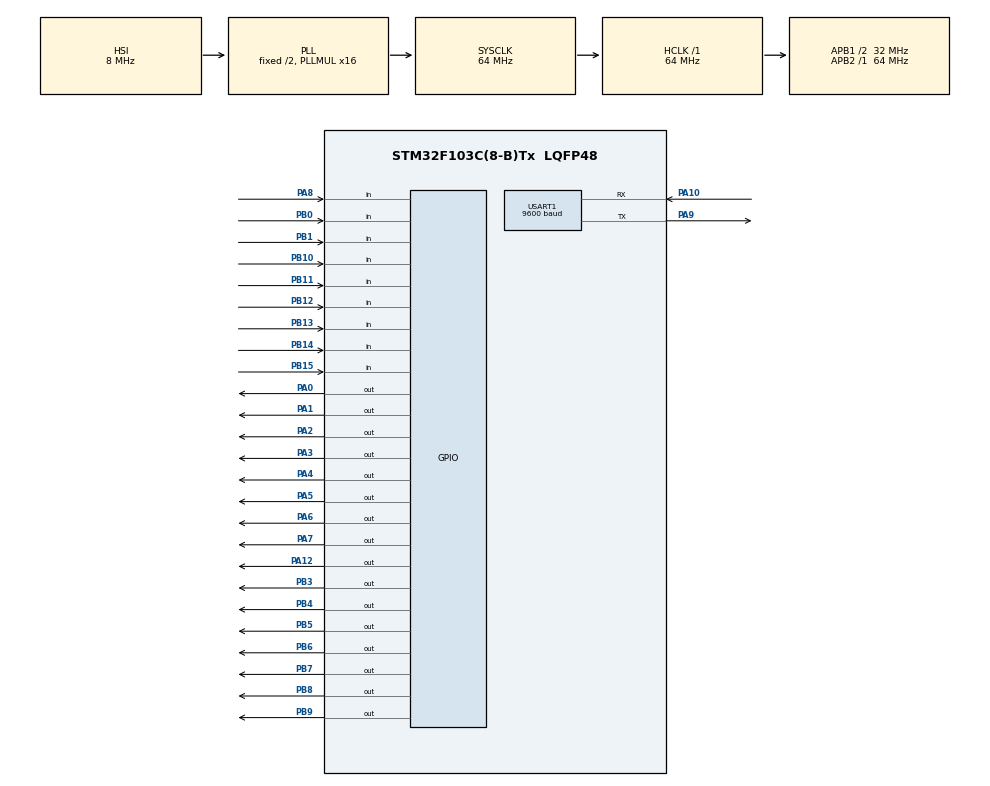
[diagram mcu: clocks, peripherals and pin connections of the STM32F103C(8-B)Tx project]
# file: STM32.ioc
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Mcu.Family=STM32F1
Mcu.Name=STM32F103C(8-B)Tx
Mcu.Package=LQFP48
NVIC.PriorityGroup=NVIC_PRIORITYGROUP_4
NVIC.TIM1_UP_IRQn=true\:0\:0\:false\:false\:true\:true\:true\:true
NVIC.TIM4_IRQn=true\:0\:0\:false\:false\:true\:true\:true\:true
NVIC.USART1_IRQn=true\:0\:0\:false\:false\:true\:true\:true\:true
PA0-WKUP.GPIO_PuPd=GPIO_PULLUP
PA0-WKUP.PinState=GPIO_PIN_SET
PA0-WKUP.Signal=GPIO_Output
PA1.GPIO_PuPd=GPIO_PULLUP
PA1.PinState=GPIO_PIN_SET
PA1.Signal=GPIO_Output
PA10.GPIO_PuPd=GPIO_PULLUP
PA10.Mode=Asynchronous
PA10.Signal=USART1_RX
PA12.GPIO_PuPd=GPIO_PULLUP
PA12.PinState=GPIO_PIN_SET
PA12.Signal=GPIO_Output
PA13.Mode=Serial_Wire
PA13.Signal=SYS_JTMS-SWDIO
PA14.Mode=Serial_Wire
PA14.Signal=SYS_JTCK-SWCLK
PA2.GPIO_PuPd=GPIO_PULLUP
PA2.PinState=GPIO_PIN_SET
PA2.Signal=GPIO_Output
PA3.GPIO_PuPd=GPIO_PULLUP
PA3.PinState=GPIO_PIN_SET
PA3.Signal=GPIO_Output
PA4.GPIO_PuPd=GPIO_PULLUP
PA4.PinState=GPIO_PIN_SET
PA4.Signal=GPIO_Output
PA5.GPIO_PuPd=GPIO_PULLUP
PA5.PinState=GPIO_PIN_SET
PA5.Signal=GPIO_Output
PA6.GPIO_PuPd=GPIO_PULLUP
PA6.PinState=GPIO_PIN_SET
PA6.Signal=GPIO_Output
PA7.GPIO_PuPd=GPIO_PULLUP
PA7.PinState=GPIO_PIN_SET
PA7.Signal=GPIO_Output
PA8.GPIO_PuPd=GPIO_PULLUP
PA8.Signal=GPIO_Input
PA9.Mode=Asynchronous
PA9.Signal=USART1_TX
PB0.GPIO_PuPd=GPIO_PULLUP
PB0.Signal=GPIO_Input
PB1.GPIO_PuPd=GPIO_PULLUP
PB1.Signal=GPIO_Input
PB10.GPIO_PuPd=GPIO_PULLUP
PB10.Signal=GPIO_Input
PB11.GPIO_PuPd=GPIO_PULLUP
PB11.Signal=GPIO_Input
PB12.GPIO_PuPd=GPIO_PULLUP
PB12.Signal=GPIO_Input
PB13.GPIO_PuPd=GPIO_PULLUP
PB13.Signal=GPIO_Input
PB14.GPIO_PuPd=GPIO_PULLUP
PB14.Signal=GPIO_Input
PB15.GPIO_PuPd=GPIO_PULLUP
PB15.Signal=GPIO_Input
PB3.GPIO_PuPd=GPIO_PULLUP
PB3.Signal=GPIO_Output
PB4.GPIO_PuPd=GPIO_PULLUP
PB4.Signal=GPIO_Output
PB5.GPIO_PuPd=GPIO_PULLUP
PB5.Signal=GPIO_Output
PB6.GPIO_PuPd=GPIO_PULLUP
PB6.Signal=GPIO_Output
PB7.GPIO_PuPd=GPIO_PULLUP
PB7.Signal=GPIO_Output
PB8.GPIO_PuPd=GPIO_PULLUP
PB8.Signal=GPIO_Output
PB9.GPIO_PuPd=GPIO_PULLUP
PB9.Signal=GPIO_Output
ProjectManager.HeapSize=0x200
ProjectManager.StackSize=0x400
ProjectManager.TargetToolchain=MDK-ARM V5
RCC.AHBFreq_Value=64000000
RCC.APB1CLKDivider=RCC_HCLK_DIV2
RCC.APB1Freq_Value=32000000
RCC.APB1TimFreq_Value=64000000
RCC.APB2Freq_Value=64000000
RCC.APB2TimFreq_Value=64000000
RCC.HCLKFreq_Value=64000000
RCC.PLLMUL=RCC_PLL_MUL16
RCC.SYSCLKFreq_VALUE=64000000
RCC.SYSCLKSource=RCC_SYSCLKSOURCE_PLLCLK
RCC.USBFreq_Value=64000000
TIM1.Period=50000
TIM1.Prescaler=63
TIM4.Period=1
TIM4.Prescaler=63
USART1.BaudRate=9600
USART1.VirtualMode=VM_ASYNC
VP_TIM1_VS_ClockSourceINT.Mode=Internal
VP_TIM4_VS_ClockSourceINT.Mode=Internal
board=custom

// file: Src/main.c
/* USER CODE BEGIN Header */
/**
  ******************************************************************************
  * @file           : main.c
  * @brief          : Main program body
  ******************************************************************************
  * @attention
  *
  * <h2><center>&copy; Copyright (c) 2019 STMicroelectronics.
  * All rights reserved.</center></h2>
  *
  * This software component is licensed by ST under BSD 3-Clause license,
  * the "License"; You may not use this file except in compliance with the
  * License. You may obtain a copy of the License at:
  *                        opensource.org/licenses/BSD-3-Clause
  *
  ******************************************************************************
  */
/* USER CODE END Header */
#include "main.h"
#include "tim.h"
#include "usart.h"
#include "gpio.h"

/* USER CODE BEGIN PV */
//定义按键部分
#define Key1 HAL_GPIO_ReadPin(GPIOB,GPIO_PIN_0)
#define Key2 HAL_GPIO_ReadPin(GPIOB,GPIO_PIN_1)
#define Key3 HAL_GPIO_ReadPin(GPIOB,GPIO_PIN_10)
#define Key4 HAL_GPIO_ReadPin(GPIOB,GPIO_PIN_11)
#define Key5 HAL_GPIO_ReadPin(GPIOB,GPIO_PIN_12)
#define Key6 HAL_GPIO_ReadPin(GPIOB,GPIO_PIN_13)
#define Key7 HAL_GPIO_ReadPin(GPIOB,GPIO_PIN_14)
#define Key8 HAL_GPIO_ReadPin(GPIOB,GPIO_PIN_15)
#define Key9 HAL_GPIO_ReadPin(GPIOA,GPIO_PIN_8)

unsigned char Key1_flag=0;
unsigned char Key2_flag=0;
unsigned char Key3_flag=0;
unsigned char Key4_flag=0;
unsigned char Key5_flag=0;
unsigned char Key6_flag=0;
unsigned char Key7_flag=0;
unsigned char Key8_flag=0;                           //定义按键部分
unsigned char Key9_flag=0;                           //定义按键部分

#define led1(b)	 HAL_GPIO_WritePin(GPIOB, GPIO_PIN_9, (GPIO_PinState) (b));	//
#define led2(b)	 HAL_GPIO_WritePin(GPIOB, GPIO_PIN_8, (GPIO_PinState) (b));	//
#define led3(b)	 HAL_GPIO_WritePin(GPIOB, GPIO_PIN_7, (GPIO_PinState) (b));	//
#define led4(b)	 HAL_GPIO_WritePin(GPIOB, GPIO_PIN_6, (GPIO_PinState) (b));	//
#define led5(b)	 HAL_GPIO_WritePin(GPIOB, GPIO_PIN_5, (GPIO_PinState) (b));	//
#define led6(b)	 HAL_GPIO_WritePin(GPIOB, GPIO_PIN_4, (GPIO_PinState) (b));	//
#define led7(b)	 HAL_GPIO_WritePin(GPIOB, GPIO_PIN_3, (GPIO_PinState) (b));	//

#define Smg1_0 HAL_GPIO_WritePin(GPIOA,GPIO_PIN_0,GPIO_PIN_RESET)
#define Smg1_1 HAL_GPIO_WritePin(GPIOA,GPIO_PIN_0,GPIO_PIN_SET)

#define Smg2_0 HAL_GPIO_WritePin(GPIOA,GPIO_PIN_1,GPIO_PIN_RESET)
#define Smg2_1 HAL_GPIO_WritePin(GPIOA,GPIO_PIN_1,GPIO_PIN_SET)

#define Smg3_0 HAL_GPIO_WritePin(GPIOA,GPIO_PIN_2,GPIO_PIN_RESET)
#define Smg3_1 HAL_GPIO_WritePin(GPIOA,GPIO_PIN_2,GPIO_PIN_SET)

#define Smg4_0 HAL_GPIO_WritePin(GPIOA,GPIO_PIN_3,GPIO_PIN_RESET)
#define Smg4_1 HAL_GPIO_WritePin(GPIOA,GPIO_PIN_3,GPIO_PIN_SET)

#define Smg5_0 HAL_GPIO_WritePin(GPIOA,GPIO_PIN_4,GPIO_PIN_RESET)
#define Smg5_1 HAL_GPIO_WritePin(GPIOA,GPIO_PIN_4,GPIO_PIN_SET)

#define Smg6_0 HAL_GPIO_WritePin(GPIOA,GPIO_PIN_5,GPIO_PIN_RESET)
#define Smg6_1 HAL_GPIO_WritePin(GPIOA,GPIO_PIN_5,GPIO_PIN_SET)

#define Smg7_0 HAL_GPIO_WritePin(GPIOA,GPIO_PIN_6,GPIO_PIN_RESET)
#define Smg7_1 HAL_GPIO_WritePin(GPIOA,GPIO_PIN_6,GPIO_PIN_SET)

#define Smg8_0 HAL_GPIO_WritePin(GPIOA,GPIO_PIN_7,GPIO_PIN_RESET)
#define Smg8_1 HAL_GPIO_WritePin(GPIOA,GPIO_PIN_7,GPIO_PIN_SET)
uint8_t Dis_Data[]= {0x3,0x9F,0x25,0xD,0x99,0x49,0x41,0x1F,0x1,0x9,0xff}; //0,1,2,3,4,5,6,7,8,9,全灭   //定义数码管显示部分

unsigned int Fre = 0;                                                 //频率数据

unsigned int SoundFlag = 0;                                           //管脚取反标志位

#define Sound(S) HAL_GPIO_WritePin(GPIOA,GPIO_PIN_12,(GPIO_PinState)(S))      //音频输出管脚IO

uint16_t voiceCount = 0 ;		//播放音乐的几个变量
uint16_t voiceNum = 0 ;			//音调
uint16_t songNum = 0 ;			//歌曲
uint16_t state = 0 ;
uint16_t stateF = 0 ;

uint16_t tone[]=		 //低音1调到高音7调
{
	63628,63835,64021,64103,64260,64400,64524,
	64580,64684,64777,64820,64898,64968,65030,
	65058,65100,65157,65178,65217,65252,65283
};

uint8_t Song[][100]=               //任意选几首音乐的旋律
{
	{1,2,3,1,1,2,3,1,3,4,5,3,4,5,5,6,5,4,3,1,5,6,5,4,3,1,1,5,1,1,5,1,255},  //《两只老虎》
	{5,6,5,6,5,6,5,5,8,7,6,5,3,5,5,3,4,5,5,3,1,4,3,2,1,2,1,255},   //《找朋友》
	{5,10,9,10,3,8,7,6,6,9,8,9,6,8,9,9,9,9,8,10,10,9,9,5,10,9,10,3,8,7,6,5,6,8,8,8,9,10,9,8,7,8,8,255},//《感恩的心》
	{1,2,3,1,5,6,6,8,6,5,6,6,8,5,6,5,6,5,3,5,3,1,2,3,1,255},   //《上学歌》

	{5,3,5,3,5,3,1,2,4,3,2,5,5,3,5,3,5,3,1,2,4,3,2,1,2,2,4,4,3,1,5,2,4,3,2,5,5,3,5,3,5,3,1,2,4,3,2,1,255},  //《粉刷匠》
//{1,2,3,4,5,3,1,8,6,4,5,5,3,1,2,3,4,5,3,2,1,2,3,2,5,1,2,3,4,5,3,1,8,6,4,5,3,1,2,3,4,5,3,2,1,2,3,1,1,8,6,4,5,5,1,8,6,4,5,3,1,2,3,4,5,3,2,1,2,3,1,1,255},//《小红帽》
//{5,8,6,8,5,3,5,2,3,5,0,3,5,6,8,5,6,5,3,5,1,3,2,0,3,2,1,2,3,6,5,3,5,6,0,5,8,6,5,3,5,2,5,2,3,2,1,255},  //《一分钱》
//{5,3,5,3,5,3,2,3,5,5,5,3,6,5,3,5,3,2,1,2,3,5,3,2,1,2,3,6,5,6,5,2,3,5,6,5,6,5,2,3,1,255},  //《丢手绢》
//{5,3,5,3,5,6,5,3,6,5,1,1,2,3,5,3,2,0,3,5,5,5,6,5,3,5,5,6,5,8,6,5,1,5,3,2,1,2,3,5,5,2,3,1,10,9,8,6,5,5,6,6,5,6,8,10,8,9,0,5,10,9,8,6,5,5,6,6,5,6,10,9,9,10,9,8,6,5,5,8,6,5,3,2,1,0,2,3,5,5,0,5,6,8,255},                //《七子之歌-澳门》
//{3,3,4,5,5,4,3,2,1,1,2,3,3,2,2,3,3,4,5,5,4,3,2,1,1,2,3,2,1,1,2,2,3,1,2,3,4,3,1,2,3,4,3,2,1,2,1,3,3,3,4,5,5,4,3,4,2,1,1,2,3,2,1,1,255},  //《欢乐颂》
//{5,8,5,4,3,2,1,1,1,2,3,3,1,3,4,5,5,5,8,5,4,3,5,2,4,3,2,6,5,2,3,1,1,0,5,3,6,8,7,6,7,5,3,9,9,9,8,7,6,8,5,5,5,3,6,8,7,6,7,8,9,5,6,7,8,9,5,8,8,255}, //《我爱北京天安门》
//{3,5,8,5,6,0,6,5,3,3,5,5,3,5,6,8,9,8,5,3,2,5,3,3,3,3,5,8,5,6,0,8,9,8,5,3,5,7,6,0,3,2,3,5,10,9,7,8,3,5,8,3,5,8,5,6,0,8,9,8,5,3,5,7,6,0,3,2,3,5,10,9,7,8,3,5,2,3,5,10,9,9,9,7,8,255},//《北京欢迎你》
//{10,9,9,10,8,0,3,8,6,5,3,5,0,5,5,6,8,8,8,6,8,3,5,5,6,5,3,2,2,0,10,9,9,10,8,0,3,8,6,5,3,5,0,5,5,6,8,8,6,5,6,3,0,3,10,10,10,10,9,6,8,255},//《当兵的人》
//{3,3,5,6,8,8,6,5,5,6,5,3,3,5,6,8,8,6,5,5,6,5,5,5,5,3,5,6,6,5,3,2,3,5,3,2,1,1,2,1,255},//《茉莉花》
//{3,1,3,3,1,3,3,5,6,5,0,6,6,5,5,4,4,4,2,3,2,1,2,0,3,1,0,3,1,0,3,3,5,6,6,0,8,5,5,6,3,2,1,2,3,5,8,5,5,6,3,2,1,2,3,1,255},//《数鸭子》
//{1,1,3,4,5,5,5,3,4,4,4,2,1,3,5,0,1,1,3,4,5,5,5,3,4,4,4,2,1,3,1,0,6,6,4,5,5,5,5,3,4,4,4,2,1,3,5,0,6,6,4,5,5,5,5,3,4,4,4,2,1,3,1,0,255},//《洋娃娃和小熊跳舞》
};
uint8_t   Len[][100]=           //上面几首音乐的旋律每个音符对应的节拍
{

	{2,2,2,2,2,2,2,2,2,2,4,2,2,4,2,2,2,2,4,4,2,2,2,2,4,4,2,3,4,2,3,4,255},		  //《两只老虎》
	{2,2,2,2,2,2,4,2,2,2,2,4,4,2,2,2,2,2,2,4,2,2,2,2,2,2,4,255},		 //《找朋友》
	{2,4,2,6,2,4,2,6,2,4,2,5,1,1,2,1,1,2,1,1,2,2,4,2,4,2,6,2,4,2,6,2,2,1,1,2,2,2,4,2,2,2,8,255},//《感恩的心》
	{2,2,2,2,6,2,2,2,2,6,2,2,4,2,2,4,2,2,2,2,2,2,2,2,6,255},//《上学歌》
	{2,2,2,2,2,2,4,2,2,2,2,4,2,2,2,2,2,2,4,2,2,2,2,4,2,2,2,2,2,2,4,2,2,2,2,4,2,2,2,2,2,2,4,2,2,2,2,4,255},		 //《粉刷匠》

//
//{2,2,2,2,4,2,2,4,2,2,2,2,4,2,2,2,2,2,2,2,2,4,4,4,4,2,2,2,2,4,2,2,4,2,2,4,4,2,2,2,2,2,2,2,2,4,4,4,4,4,2,2,2,2,4,4,2,2,4,4,2,2,2,2,2,2,2,2,4,4,4,4,255},	 //《小红帽》
//{4,4,2,2,4,2,2,2,2,4,4,2,2,2,2,2,2,2,2,2,4,2,4,4,2,2,2,2,8,2,2,2,2,4,4,2,2,2,2,2,2,4,2,2,2,2,8,255},		 //《一分钱》
//{6,2,6,2,2,2,2,2,8,2,4,2,4,4,2,2,2,2,4,4,4,4,2,2,2,2,8,2,2,2,2,2,2,4,2,2,2,2,4,4,8,255},		 //《丢手绢》
//{4,2,2,2,6,2,2,2,2,8,4,2,2,4,2,2,4,2,2,8,2,2,2,2,2,4,2,2,2,2,2,8,4,2,2,2,2,4,2,6,2,2,4,16,4,2,1,2,2,4,2,4,2,2,1,2,2,12,2,2,4,2,1,2,2,4,2,4,2,4,2,2,16,4,2,1,2,2,4,4,2,2,2,2,4,4,2,2,8,8,4,2,2,16,255},			  //《七子之歌-澳门》
//{4,4,4,4,4,4,4,4,4,4,4,4,5,2,6,4,4,4,4,4,4,4,4,4,4,4,4,5,2,6,4,4,4,4,4,2,2,4,4,4,2,2,4,4,4,4,4,4,4,4,4,4,4,4,4,2,2,4,4,4,4,5,2,6,255},//《欢乐颂》
//{2,2,2,2,2,2,4,2,2,2,2,2,2,2,2,6,6,2,2,2,2,2,2,4,2,2,2,2,4,2,2,6,4,4,5,2,4,4,4,2,2,4,4,2,2,2,2,4,2,2,6,6,5,2,4,4,2,2,2,2,6,2,2,2,2,4,4,6,4,255},//《我爱北京天安门》
//{4,4,2,2,4,2,2,2,2,2,2,6,2,2,2,2,2,2,2,2,2,2,2,2,6,2,2,2,2,4,2,2,2,2,2,2,2,2,4,2,2,2,2,2,2,5,2,8,2,2,8,2,2,2,2,4,2,2,2,2,2,2,2,2,4,2,2,2,2,2,2,5,2,8,2,2,2,2,2,2,6,10,8,4,10,255},//《北京欢迎你》
//{6,4,3,2,8,4,4,4,2,2,4,8,4,4,2,2,4,3,2,4,4,6,4,2,2,4,2,2,8,4,6,4,3,2,8,4,4,4,2,2,4,8,4,2,4,2,4,4,4,2,2,4,2,2,2,4,2,4,2,2,8,4,255},//《当兵的人》
//{4,2,2,2,2,2,2,4,2,2,6,4,2,2,2,2,2,2,4,2,2,6,4,4,4,2,2,4,4,6,4,2,2,4,2,2,4,2,2,8,255},//《茉莉花》
//{4,4,2,2,4,2,2,2,2,4,4,2,2,2,2,2,2,4,2,2,2,2,4,4,4,2,2,4,2,2,2,2,2,2,4,4,4,2,2,4,4,2,2,2,2,6,4,2,2,4,4,2,2,2,2,6,255},//《数鸭子》
//{2,2,2,2,2,2,2,2,2,2,2,2,2,2,2,2,2,2,2,2,2,2,2,2,2,2,2,2,2,2,2,2,2,2,2,2,2,2,2,2,2,2,2,2,2,2,2,2,2,2,2,2,2,2,2,2,2,2,2,2,2,2,2,2,2,255},//《洋娃娃和小熊跳舞》
};

/* USER CODE END PV */

void SystemClock_Config(void);
/* USER CODE BEGIN PFP */

void DisFunction(unsigned char q)        //显示驱动
{
	if((q&0x80)==0x80) Smg1_1;
	else               Smg1_0;
	q=q<<1;

	if((q&0x80)==0x80) Smg2_1;
	else               Smg2_0;
	q=q<<1;

	if((q&0x80)==0x80) Smg3_1;
	else               Smg3_0;
	q=q<<1;

	if((q&0x80)==0x80) Smg4_1;
	else               Smg4_0;
	q=q<<1;

	if((q&0x80)==0x80) Smg5_1;
	else               Smg5_0;
	q=q<<1;

	if((q&0x80)==0x80) Smg6_1;
	else               Smg6_0;
	q=q<<1;

	if((q&0x80)==0x80) Smg7_1;
	else               Smg7_0;
	q=q<<1;

	if((q&0x80)==0x80) Smg8_1;
	else               Smg8_0;
}
uint16_t  diao = 0 ;  //音调 0 - 2 ;
uint32_t keyTim[21] ;	//记录按下的时间
uint8_t keyOrder[21] ;	//记录按下的时间
uint16_t key9F = 0 ;

void delayus(uint32_t i)
{
	while(i)
	{
		i -- ;
		__NOP() ; __NOP() ;
	}

}

void Key_Dispose()                       //按键处理函数
{
	if(keyOrder[0] > 20 )
	{
		keyOrder[0]  = 20 ;									 	//记录按键次数
		keyTim[keyOrder[0]]  = 0  ;						//记录按键按下的时间
 	}
	if(keyTim[keyOrder[0]]  > 2123123123 )	//控制按键按下的最大时间
	{
		keyTim[keyOrder[0]] = 2123123123  ;
	}

 	if( !Key1 || !Key2 || !Key3 || !Key4 || !Key5 || !Key6 || !Key7 || !Key8 )
	{
		if(!Key1 || !Key2 || !Key3 || !Key4 || !Key5 || !Key6 || !Key7 )
		{
			if(state)
			{
 				state = 0 ;		//停止播放歌曲
				key9F = 1 ;		//清空回放内容
			}
 		}
 		if(key9F)
		{
			key9F = 0 ;				//清空回放
			keyTim[0] = keyTim[1] = keyTim[2] = keyTim[3] = keyTim[4] = keyTim[5] = keyTim[6] = keyTim[7] = keyTim[8] = 0 ;
			keyOrder[0] = keyOrder[1] = keyOrder[2] = keyOrder[3] = keyOrder[4] = keyOrder[5] = keyOrder[6] = keyOrder[7] = keyOrder[8] = 0 ;
 		}

	}

	if(!Key1 )                             //按键按下
	{
		if(Key1_flag==1)                   //按键按下标志位
		{
			Key1_flag = 0;                  //清零标志
			songNum=0;
			state=0;

			led1(0)
			Fre = tone[diao * 7  ];					//取频率值
			MX_TIM4_Init();                 //初始化定时器
			HAL_Delay(10);                  //短延时，其实不延时也没事
			HAL_TIM_Base_Start_IT(&htim4);  //启动 定时器
 			keyOrder[0] ++ ;
 			keyOrder[keyOrder[0]] = 0 ;

		}
		keyTim[keyOrder[0]] ++ ;
		HAL_Delay(1) ;
	}
	else
	{
		led1(1)
		if(Key1_flag==0)                  //按键之前有按下
		{
			Key1_flag=1;                    //置一，为按键按下做准备
			HAL_TIM_Base_Stop_IT(&htim4);
		}
	}

	if(!Key2 )                             //下面是一样的，一共是八个音乐
	{
 		if(Key2_flag==1)
		{
			Key2_flag = 0;
			Fre = tone[diao * 7  + 1 ];
			MX_TIM4_Init();
			HAL_TIM_Base_Start_IT(&htim4);
			led2(0)
 			keyOrder[0] ++ ;
 			keyOrder[keyOrder[0]] = 1 ;
 		}
		keyTim[keyOrder[0]] ++ ;
		HAL_Delay(1) ;

	}
	else
	{
		led2(1)
		if(Key2_flag==0)
		{
			Key2_flag=1;
			HAL_TIM_Base_Stop_IT(&htim4);
		}
	}

	if(!Key3 )
	{
 		if(Key3_flag==1)
		{
			Key3_flag = 0;
			Fre = tone[diao * 7  + 2 ];
			MX_TIM4_Init();

			HAL_TIM_Base_Start_IT(&htim4);
			led3(0)
 			keyOrder[0] ++ ;
 			keyOrder[keyOrder[0]] = 2 ;

		}
		keyTim[keyOrder[0]] ++ ;
		HAL_Delay(1) ;

	}
	else
	{
		led3(1)
		if(Key3_flag==0)
		{
			Key3_flag=1;
			HAL_TIM_Base_Stop_IT(&htim4);
		}
	}
	if( !Key4  )
	{
 		if(Key4_flag==1)
		{
			Key4_flag = 0;
			Fre = tone[diao * 7  + 3 ];
			MX_TIM4_Init();
			HAL_TIM_Base_Start_IT(&htim4);
			led4(0)
 			keyOrder[0] ++ ;
 			keyOrder[keyOrder[0]] = 3 ;

		}
		HAL_Delay(1) ;
		keyTim[keyOrder[0]] ++ ;
	}
	else
	{
		led4(1)
		if(Key4_flag==0)
		{
			Key4_flag=1;
			HAL_TIM_Base_Stop_IT(&htim4);
		}
	}

	if( !Key5 )
	{
 		if(Key5_flag==1)
		{
			Key5_flag = 0;
			led5(0)
			Fre = tone[diao * 7  + 4 ];
			MX_TIM4_Init();
			HAL_TIM_Base_Start_IT(&htim4);
 			keyOrder[0] ++ ;
 			keyOrder[keyOrder[0]] = 4 ;

		}
		HAL_Delay(1) ;
		keyTim[keyOrder[0]] ++ ;
	}
	else
	{
		if(Key5_flag==0)
		{
			led5(1)
			Key5_flag=1;
			HAL_TIM_Base_Stop_IT(&htim4);
		}
	}

	if(!Key6  )
	{
 		if(Key6_flag==1)
		{
			Key6_flag = 0;
			led6(0)
			Fre = tone[diao * 7  + 5 ];
			MX_TIM4_Init();
			HAL_TIM_Base_Start_IT(&htim4);
 			keyOrder[0] ++ ;
 			keyOrder[keyOrder[0]] = 5 ;

		}
		keyTim[keyOrder[0]] ++ ;
		HAL_Delay(1) ;
	}
	else
	{
		led6(1)
		if(Key6_flag==0)
		{
			Key6_flag=1;
			HAL_TIM_Base_Stop_IT(&htim4);
		}
	}

	if(!Key7 )
	{
 		if(Key7_flag==1)
		{
			led7(0)
			Key7_flag = 0;
			Fre = tone[diao * 7  + 6 ];
			MX_TIM4_Init();
			HAL_TIM_Base_Start_IT(&htim4);
 			keyOrder[0] ++ ;
 			keyOrder[keyOrder[0]] = 6 ;

		}
		keyTim[keyOrder[0]] ++ ;
		HAL_Delay(1) ;
 	}
	else
	{
		led7(1)
		if(Key7_flag==0)
		{
			Key7_flag=1;
			HAL_TIM_Base_Stop_IT(&htim4);
		}
	}

	if(!Key8    )
	{
 		if(Key8_flag==1)
		{
			Key8_flag = 0;
// 				 Fre = tone[15]; MX_TIM4_Init();
			HAL_TIM_Base_Start_IT(&htim4);
			songNum = 0 ;
			if(state == 1 )
			voiceNum = (voiceNum + 1) % 4  ;
			state = 1 ;
		}
	}
	else
	{
 		if(Key8_flag==0)
		{
			Key8_flag=1;
//			HAL_TIM_Base_Stop_IT(&htim4);
		}
	}
	if(!Key9  )
	{
		if(Key9_flag==1)
		{
			Key9_flag = 0;
			key9F = 1 ;
			for(uint16_t i = 1 ; i <= keyOrder[0] ; i ++  )
			{
 				Fre = tone[diao * 7  + keyOrder[i] ];
				MX_TIM4_Init();
				HAL_TIM_Base_Start_IT(&htim4);
 				uint32_t TS = keyTim[i] ;
 				DisFunction(Dis_Data[keyOrder[i]+1]) ;

				while(TS)
				{
					TS -- ;
					delayus(120) ;
					HAL_Delay(1) ;
 				}
 				HAL_TIM_Base_Stop_IT(&htim4);
				HAL_Delay(50) ;

			}
//			diao = (diao + 1 )% 3 ;
		}
	}
	else
	{
		Key9_flag = 1;
	}
	if(Key1_flag == 0 ||Key2_flag == 0 ||Key3_flag == 0 ||Key4_flag == 0 ||Key5_flag == 0 ||Key6_flag == 0 ||Key7_flag == 0 ||Key8_flag == 0 )  //任意一个按键按下
	{
		if(Key1_flag==0)       DisFunction(Dis_Data[1]);
		else  if(Key2_flag==0) DisFunction(Dis_Data[2]);
		else  if(Key3_flag==0) DisFunction(Dis_Data[3]);
		else  if(Key4_flag==0) DisFunction(Dis_Data[4]);
		else  if(Key5_flag==0) DisFunction(Dis_Data[5]);
		else  if(Key6_flag==0) DisFunction(Dis_Data[6]);
		else  if(Key7_flag==0) DisFunction(Dis_Data[7]);
		else  if(Key8_flag==0) DisFunction(Dis_Data[8]);
		else                   DisFunction(Dis_Data[10]);  //谁按下就驱动数码管显示对应的数据，否则灯灭

	}
	else
	{
		DisFunction(Dis_Data[10]);
		if(state == 0 )  //都没按下
		{
			Sound(0);
			songNum=0;
			HAL_TIM_Base_Stop_IT(&htim4);
		}
	}

}

void HAL_TIM_PeriodElapsedCallback(TIM_HandleTypeDef *htim)  //定时器中断回调
{

	static uint16_t timCount = 0 ;
	if(htim==&htim1)     //是定时器 1 产生的中断
	{
		timCount = (timCount +  1)%10000 ;

		if(timCount%3 == 0 && state)
		{
			voiceCount++;
			if(voiceCount>=Len[voiceNum ][songNum])
			{
				voiceCount=0;
				songNum++;
				if(Len[voiceNum ][songNum]==255|Song[voiceNum ][songNum]==255)
				{
					songNum=0;
					state=0;
					HAL_TIM_Base_Stop_IT(&htim4);

				}
				Fre = tone[Song[voiceNum ][songNum]+2];
				MX_TIM4_Init();
			}

		}

	}

	if(htim==&htim4)     //是定时器 4 产生的中断
	{
		SoundFlag =! SoundFlag ;
		Sound(SoundFlag) ;
	}

}

/* USER CODE END PFP */

int main(void)
{

	/* MCU Configuration--------------------------------------------------------*/

	/* Reset of all peripherals, Initializes the Flash interface and the Systick. */
	HAL_Init();

	/* Configure the system clock */
	SystemClock_Config();

	/* Initialize all configured peripherals */
	MX_GPIO_Init();
	MX_TIM4_Init();
	MX_TIM1_Init();
	MX_USART1_UART_Init();
	/* USER CODE BEGIN 2 */
	HAL_TIM_Base_Start_IT(&htim1);

	/* USER CODE END 2 */

	/* Infinite loop */
	while (1)
	{

		/* USER CODE BEGIN 3 */

		if(state==1)
		{
			if(stateF == 1 )
			{
				stateF = 0 ;
				HAL_TIM_Base_Start_IT(&htim4);
				Fre = tone[Song[voiceNum][songNum]+2];
				MX_TIM4_Init();

			}
		}
		else
		{
			if(stateF == 0 )
			{
				stateF = 1 ;
				HAL_TIM_Base_Stop_IT(&htim4);
			}
		}

		Key_Dispose();         //按键处理函数

	}
	/* USER CODE END 3 */
}

void SystemClock_Config(void)
{
	RCC_OscInitTypeDef RCC_OscInitStruct = {0};
	RCC_ClkInitTypeDef RCC_ClkInitStruct = {0};

	/** Initializes the RCC Oscillators according to the specified parameters
	* in the RCC_OscInitTypeDef structure.
	*/
	RCC_OscInitStruct.OscillatorType = RCC_OSCILLATORTYPE_HSI;
	RCC_OscInitStruct.HSIState = RCC_HSI_ON;
	RCC_OscInitStruct.HSICalibrationValue = RCC_HSICALIBRATION_DEFAULT;
	RCC_OscInitStruct.PLL.PLLState = RCC_PLL_ON;
	RCC_OscInitStruct.PLL.PLLSource = RCC_PLLSOURCE_HSI_DIV2;
	RCC_OscInitStruct.PLL.PLLMUL = RCC_PLL_MUL16;
	if (HAL_RCC_OscConfig(&RCC_OscInitStruct) != HAL_OK)
	{
		Error_Handler();
	}

	/** Initializes the CPU, AHB and APB buses clocks
	*/
	RCC_ClkInitStruct.ClockType = RCC_CLOCKTYPE_HCLK|RCC_CLOCKTYPE_SYSCLK
	                              |RCC_CLOCKTYPE_PCLK1|RCC_CLOCKTYPE_PCLK2;
	RCC_ClkInitStruct.SYSCLKSource = RCC_SYSCLKSOURCE_PLLCLK;
	RCC_ClkInitStruct.AHBCLKDivider = RCC_SYSCLK_DIV1;
	RCC_ClkInitStruct.APB1CLKDivider = RCC_HCLK_DIV2;
	RCC_ClkInitStruct.APB2CLKDivider = RCC_HCLK_DIV1;

	if (HAL_RCC_ClockConfig(&RCC_ClkInitStruct, FLASH_LATENCY_2) != HAL_OK)
	{
		Error_Handler();
	}
}

void Error_Handler(void)
{
}
